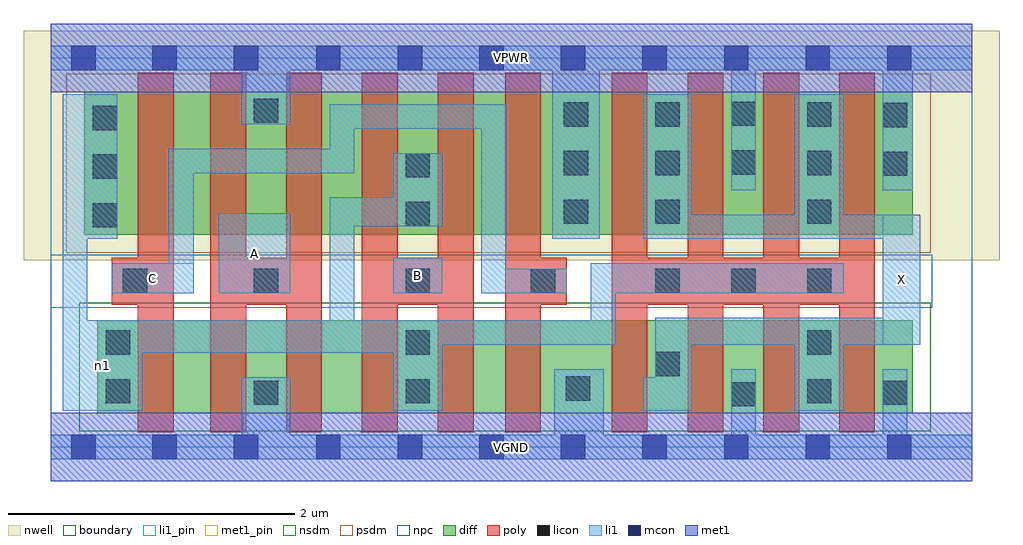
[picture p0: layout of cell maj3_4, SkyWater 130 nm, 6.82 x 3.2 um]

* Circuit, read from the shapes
.subckt maj3_4 A B C VGND VPWR X n1
XM1 n2 C n1 VSUBS sky130_fd_pr__nfet_01v8 w=0.65 l=0.25
XM2 VGND A n2 VSUBS sky130_fd_pr__nfet_01v8 w=0.65 l=0.25
XM3 n3 A VGND VSUBS sky130_fd_pr__nfet_01v8 w=0.65 l=0.25
XM4 n1 B n3 VSUBS sky130_fd_pr__nfet_01v8 w=0.65 l=0.25
XM5 n4 B n1 VSUBS sky130_fd_pr__nfet_01v8 w=0.65 l=0.25
XM6 VGND C n4 VSUBS sky130_fd_pr__nfet_01v8 w=0.65 l=0.25
XM7 X n1 VGND VSUBS sky130_fd_pr__nfet_01v8 w=0.65 l=0.25 m=4
XM8 n5 C n1 n6 sky130_fd_pr__pfet_01v8 w=1 l=0.25
XM9 VPWR A n5 n6 sky130_fd_pr__pfet_01v8 w=1 l=0.25
XM10 n7 A VPWR n6 sky130_fd_pr__pfet_01v8 w=1 l=0.25
XM11 n1 B n7 n6 sky130_fd_pr__pfet_01v8 w=1 l=0.25
XM12 n8 B n1 n6 sky130_fd_pr__pfet_01v8 w=1 l=0.25
XM13 VPWR C n8 n6 sky130_fd_pr__pfet_01v8 w=1 l=0.25
XM14 X n1 VPWR n6 sky130_fd_pr__pfet_01v8 w=1 l=0.25 m=4
.ends

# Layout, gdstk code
import gdstk
lib = gdstk.Library(unit=1e-6, precision=1e-09)
def R(c, l, rs):  # rectangles x0, y0, x1, y1
    for r in rs: c.add(gdstk.rectangle(r[:2], r[2:], *l))
def A(c, l, x, y, w, h, nx, ny, dx, dy):  # array of equal rectangles
    R(c, l, [(x+i*dx, y+j*dy, x+i*dx+w, y+j*dy+h) for i in range(nx) for j in range(ny)])
nwell = (64, 20)
diff = (65, 20)
poly = (66, 20)
licon = (66, 44)
li1_pin = (67, 16)
li1 = (67, 20)
mcon = (67, 44)
met1_pin = (68, 16)
met1 = (68, 20)
nsdm = (93, 44)
psdm = (94, 20)
npc = (95, 20)
boundary = (235, 4)

maj3_4 = lib.new_cell('maj3_4')
R(maj3_4, nwell, [(-0.19,1.305,6.63,2.91), (0,1.305,6.44,2.91)])
R(maj3_4, diff, [(0.325,0.235,6.025,0.885), (0.235,1.485,6.025,2.485)])
A(maj3_4, poly, 1.115, 0.105, 0.25, 2.51, 4, 1, 0.53, 0)
A(maj3_4, poly, 3.92, 0.105, 0.25, 2.51, 4, 1, 0.53, 0)
R(maj3_4, poly, [(0.61,0.105,0.86,2.615), (3.175,0.105,3.425,2.615), (0.425,0.995,0.86,1.325), (1.115,0.995,1.895,1.325), (2.175,0.995,2.955,1.325), (3.175,0.995,3.605,1.325), (3.92,0.995,5.76,1.325)])
A(maj3_4, licon, 4.225, 1.075, 0.17, 0.17, 3, 1, 0.53, 0)
A(maj3_4, licon, 0.295, 1.535, 0.17, 0.17, 1, 3, 0, 0.34)
A(maj3_4, licon, 3.585, 1.56, 0.17, 0.17, 1, 3, 0, 0.34)
A(maj3_4, licon, 4.225, 1.56, 0.17, 0.17, 1, 3, 0, 0.34)
A(maj3_4, licon, 5.285, 1.56, 0.17, 0.17, 1, 3, 0, 0.34)
R(maj3_4, licon, [(4.755,0.285,4.925,0.455), (1.42,0.295,1.59,0.465), (5.815,0.295,5.985,0.465), (0.385,0.305,0.555,0.475), (2.48,0.305,2.65,0.475), (5.285,0.305,5.455,0.475), (3.6,0.325,3.77,0.495), (4.225,0.495,4.395,0.665), (0.385,0.645,0.555,0.815), (2.48,0.645,2.65,0.815), (5.285,0.645,5.455,0.815), (0.505,1.075,0.675,1.245), (1.42,1.075,1.59,1.245), (2.48,1.075,2.65,1.245), (3.355,1.075,3.525,1.245), (2.48,1.545,2.65,1.715), (2.48,1.885,2.65,2.055), (5.815,1.895,5.985,2.065), (4.755,1.905,4.925,2.075), (5.815,2.235,5.985,2.405), (4.755,2.245,4.925,2.415), (1.42,2.265,1.59,2.435)])
R(maj3_4, li1_pin, [(5.815,0.715,6.075,1.625), (0.425,1.075,1,1.285), (1.175,1.075,1.675,1.635), (2.395,1.075,2.735,1.325)])
R(maj3_4, li1, [(0,-0.085,6.44,0.085), (1.335,-0.085,1.675,0.49), (3.52,-0.085,3.865,0.545), (4.755,-0.085,4.925,0.545), (5.815,-0.085,5.985,0.545), (0.085,0.255,0.64,0.885), (0.085,0.255,0.255,2.465), (2.395,0.255,2.735,0.885), (4.14,0.255,4.48,0.49), (4.225,0.255,4.48,0.905), (5.2,0.255,5.54,0.905), (0.085,0.66,2.735,0.885), (1.95,0.66,2.12,1.745), (0.085,0.715,3.95,0.885), (3.775,0.715,3.95,1.285), (4.225,0.715,6.075,0.905), (5.815,0.715,6.075,1.625), (0.425,1.075,1,1.285), (0.825,1.075,1,2.085), (1.175,1.075,1.675,1.635), (2.395,1.075,2.735,1.325), (3.01,1.075,3.185,2.395), (3.01,1.075,3.605,1.245), (3.775,1.075,5.54,1.285), (0.085,1.455,0.465,2.465), (3.505,1.455,3.835,2.805), (4.14,1.455,4.48,2.465), (4.14,1.455,6.075,1.625), (5.2,1.455,5.54,2.465), (1.95,1.545,2.735,1.745), (2.395,1.545,2.735,2.055), (4.755,1.795,4.925,2.805), (5.815,1.795,6.025,2.805), (0.825,1.915,2.12,2.085), (1.95,1.915,2.12,2.395), (1.95,2.225,3.185,2.395), (1.335,2.255,1.675,2.805), (0,2.635,6.44,2.805)])
A(maj3_4, mcon, 1.855, -0.085, 0.17, 0.17, 8, 2, 0.57, 2.72)
R(maj3_4, mcon, [(0.145,-0.085,0.315,0.085), (0.71,-0.085,0.88,0.085), (1.28,-0.085,1.45,0.085), (0.145,2.635,0.315,2.805), (0.71,2.635,0.88,2.805), (1.28,2.635,1.45,2.805)])
R(maj3_4, met1_pin, [(0,-0.24,6.44,0.24), (0,2.48,6.44,2.96)])
R(maj3_4, met1, [(0,-0.24,6.44,0.24), (0,2.48,6.44,2.96)])
R(maj3_4, nsdm, [(0.2,0.11,6.15,1.01)])
R(maj3_4, psdm, [(0.11,1.36,6.15,2.61)])
R(maj3_4, npc, [(0,0.975,6.16,1.345)])
R(maj3_4, boundary, [(0,0,6.44,2.72)])
maj3_4.add(gdstk.Label('A', (1.425,1.355), layer=67, texttype=5))
maj3_4.add(gdstk.Label('B', (2.565,1.2), layer=67, texttype=5))
maj3_4.add(gdstk.Label('C', (0.712,1.18), layer=67, texttype=5))
maj3_4.add(gdstk.Label('X', (5.945,1.17), layer=67, texttype=5))
maj3_4.add(gdstk.Label('n1', (0.362,0.57), layer=67, texttype=5))
maj3_4.add(gdstk.Label('VPWR', (3.22,2.72), layer=68, texttype=5))
maj3_4.add(gdstk.Label('VGND', (3.22,0), layer=68, texttype=5))
maj3_4.add(gdstk.Label('A', (1.425,1.355), layer=67, texttype=16))
maj3_4.add(gdstk.Label('B', (2.565,1.2), layer=67, texttype=16))
maj3_4.add(gdstk.Label('C', (0.712,1.18), layer=67, texttype=16))
maj3_4.add(gdstk.Label('X', (5.945,1.17), layer=67, texttype=16))
maj3_4.add(gdstk.Label('VPWR', (3.22,2.72), layer=68, texttype=16))
maj3_4.add(gdstk.Label('VGND', (3.22,0), layer=68, texttype=16))

lib.write_gds('maj3_4.gds')
